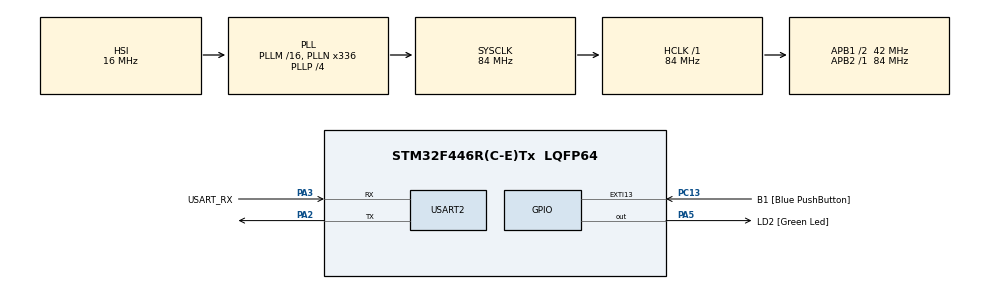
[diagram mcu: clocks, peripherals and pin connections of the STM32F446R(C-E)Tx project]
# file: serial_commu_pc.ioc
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Mcu.Family=STM32F4
Mcu.Name=STM32F446R(C-E)Tx
Mcu.Package=LQFP64
NVIC.PriorityGroup=NVIC_PRIORITYGROUP_0
NVIC.USART2_IRQn=true\:0\:0\:false\:false\:true\:true\:true\:true
PA13.GPIO_Label=TMS
PA13.Signal=SYS_JTMS-SWDIO
PA14.GPIO_Label=TCK
PA14.Signal=SYS_JTCK-SWCLK
PA2.Mode=Asynchronous
PA2.Signal=USART2_TX
PA3.GPIO_Label=USART_RX
PA3.Mode=Asynchronous
PA3.Signal=USART2_RX
PA5.GPIO_Label=LD2 [Green Led]
PA5.Signal=GPIO_Output
PB3.GPIO_Label=SWO
PB3.Signal=SYS_JTDO-SWO
PC13.GPIO_Label=B1 [Blue PushButton]
PC13.GPIO_ModeDefaultEXTI=GPIO_MODE_IT_FALLING
PC13.Signal=GPXTI13
PC14-OSC32_IN.Signal=RCC_OSC32_IN
PC15-OSC32_OUT.Signal=RCC_OSC32_OUT
PH0-OSC_IN.Signal=RCC_OSC_IN
PH1-OSC_OUT.Signal=RCC_OSC_OUT
ProjectManager.HeapSize=0x200
ProjectManager.StackSize=0x400
ProjectManager.TargetToolchain=STM32CubeIDE
RCC.AHBFreq_Value=84000000
RCC.APB1CLKDivider=RCC_HCLK_DIV2
RCC.APB1Freq_Value=42000000
RCC.APB1TimFreq_Value=84000000
RCC.APB2Freq_Value=84000000
RCC.APB2TimFreq_Value=84000000
RCC.CortexFreq_Value=84000000
RCC.FLatency-AdvancedSettings=FLASH_LATENCY_2
RCC.HCLKFreq_Value=84000000
RCC.HSE_VALUE=8000000
RCC.HSI_VALUE=16000000
RCC.LSE_VALUE=32768
RCC.PLLN=336
RCC.PLLP=RCC_PLLP_DIV4
RCC.SYSCLKFreq_VALUE=84000000
RCC.SYSCLKSource=RCC_SYSCLKSOURCE_PLLCLK
RCC.USBFreq_Value=168000000
RCC.VCOOutputFreq_Value=336000000
USART2.VirtualMode=VM_ASYNC
board=NUCLEO-F446RE

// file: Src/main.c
/* USER CODE BEGIN Header */
/**
 ******************************************************************************
 * @file           : main.c
 * @brief          : Main program body
 ******************************************************************************
 * @attention
 *
 * Copyright (c) 2023 STMicroelectronics.
 * All rights reserved.
 *
 * This software is licensed under terms that can be found in the LICENSE file
 * in the root directory of this software component.
 * If no LICENSE file comes with this software, it is provided AS-IS.
 *
 ******************************************************************************
 */
/* USER CODE END Header */
#include "main.h"
#include "usart.h"
#include "gpio.h"

/* USER CODE BEGIN Includes */
#include <stdio.h>
#include <string.h>
/* USER CODE END Includes */

void SystemClock_Config(void);

/* USER CODE BEGIN 0 */
// UARTハンドル

/* データ送信用バッファ */
char tx_buffer[128];
uint8_t rx_data[20];
void HAL_UART_RxCpltCallback(UART_HandleTypeDef *huart);
void HAL_UART_RxCpltCallback(UART_HandleTypeDef *huart)
{
  if (huart->Instance == USART2)
  {
    // 受信データを処理する
    // ここでは例として受信データをそのまま送信
    HAL_UART_Transmit(&huart2, rx_data, sizeof(rx_data), 10);

    // 受信割り込みを再度有効化
    HAL_UART_Receive_IT(&huart2, rx_data, sizeof(rx_data));
  }
}

/* USER CODE END 0 */

int main(void)
{

  /* MCU Configuration--------------------------------------------------------*/

  /* Reset of all peripherals, Initializes the Flash interface and the Systick. */
  HAL_Init();

  /* Configure the system clock */
  SystemClock_Config();

  /* Initialize all configured peripherals */
  MX_GPIO_Init();
  MX_USART2_UART_Init();

  /* Infinite loop */
  /* USER CODE BEGIN WHILE */
  while (1)
  {
    // 送信データの作成
    int state_id = 1;
    int pitch_deg = 120;       // 1/10度単位（45.0度）
    int muzzle_velocity = 154; // mm/s（15.0 m/s）
    int left_disks_num = 53;
    int right_disks_num = 25;
    int video_id = 0;
    int flags = 1;
    int reserved = 0;

    // データをフォーマットしてバッファに格納 /
        snprintf(tx_buffer, sizeof(tx_buffer),
                 "%d,%d,%d,%d,%d,%d,%d,%d\n",
                 state_id,
                 pitch_deg,
                 muzzle_velocity,
                 left_disks_num,
                 right_disks_num,
                 video_id,
                 flags,
                 reserved);

    // データを送信
    HAL_UART_Transmit(&huart2, (uint8_t *)tx_buffer, strlen(tx_buffer), 1000);  // データを送信
    // HAL_UART_Receive_IT(&huart2, rx_data, sizeof(rx_data));  // 受信割り込みを有効化して受信したデータをエコーバック
    printf("\r\n");

    // 10ミリ秒待機
    HAL_Delay(10);
    /* USER CODE END WHILE */

  }
}

void SystemClock_Config(void)
{
  RCC_OscInitTypeDef RCC_OscInitStruct = {0};
  RCC_ClkInitTypeDef RCC_ClkInitStruct = {0};

  /** Configure the main internal regulator output voltage
   */
  __HAL_RCC_PWR_CLK_ENABLE();
  __HAL_PWR_VOLTAGESCALING_CONFIG(PWR_REGULATOR_VOLTAGE_SCALE3);

  /** Initializes the RCC Oscillators according to the specified parameters
   * in the RCC_OscInitTypeDef structure.
   */
  RCC_OscInitStruct.OscillatorType = RCC_OSCILLATORTYPE_HSI;
  RCC_OscInitStruct.HSIState = RCC_HSI_ON;
  RCC_OscInitStruct.HSICalibrationValue = RCC_HSICALIBRATION_DEFAULT;
  RCC_OscInitStruct.PLL.PLLState = RCC_PLL_ON;
  RCC_OscInitStruct.PLL.PLLSource = RCC_PLLSOURCE_HSI;
  RCC_OscInitStruct.PLL.PLLM = 16;
  RCC_OscInitStruct.PLL.PLLN = 336;
  RCC_OscInitStruct.PLL.PLLP = RCC_PLLP_DIV4;
  RCC_OscInitStruct.PLL.PLLQ = 2;
  RCC_OscInitStruct.PLL.PLLR = 2;
  if (HAL_RCC_OscConfig(&RCC_OscInitStruct) != HAL_OK)
  {
    Error_Handler();
  }

  /** Initializes the CPU, AHB and APB buses clocks
   */
  RCC_ClkInitStruct.ClockType = RCC_CLOCKTYPE_HCLK | RCC_CLOCKTYPE_SYSCLK | RCC_CLOCKTYPE_PCLK1 | RCC_CLOCKTYPE_PCLK2;
  RCC_ClkInitStruct.SYSCLKSource = RCC_SYSCLKSOURCE_PLLCLK;
  RCC_ClkInitStruct.AHBCLKDivider = RCC_SYSCLK_DIV1;
  RCC_ClkInitStruct.APB1CLKDivider = RCC_HCLK_DIV2;
  RCC_ClkInitStruct.APB2CLKDivider = RCC_HCLK_DIV1;

  if (HAL_RCC_ClockConfig(&RCC_ClkInitStruct, FLASH_LATENCY_2) != HAL_OK)
  {
    Error_Handler();
  }
}

void Error_Handler(void)
{
  __disable_irq();
  while (1)
  {
  }
}
